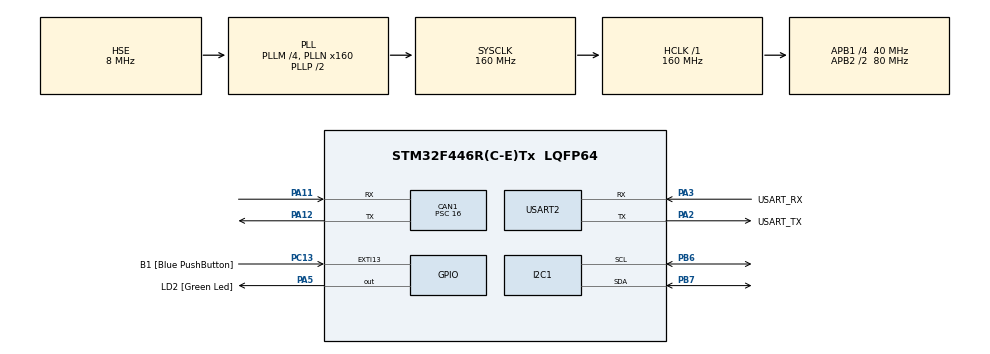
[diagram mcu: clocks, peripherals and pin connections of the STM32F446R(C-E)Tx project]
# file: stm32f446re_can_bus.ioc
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CAN1.BS1=CAN_BS1_3TQ
CAN1.BS2=CAN_BS2_1TQ
CAN1.CalculateBaudRate=500000
CAN1.CalculateTimeBit=2000
CAN1.CalculateTimeQuantum=400.0
CAN1.Mode=CAN_MODE_LOOPBACK
CAN1.Prescaler=16
Mcu.Family=STM32F4
Mcu.Name=STM32F446R(C-E)Tx
Mcu.Package=LQFP64
NVIC.CAN1_RX0_IRQn=true\:0\:0\:false\:false\:true\:true\:true\:true
NVIC.CAN1_RX1_IRQn=true\:0\:0\:false\:false\:true\:true\:true\:true
NVIC.PriorityGroup=NVIC_PRIORITYGROUP_0
PA11.Mode=CAN_Activate
PA11.Signal=CAN1_RX
PA12.Mode=CAN_Activate
PA12.Signal=CAN1_TX
PA13.GPIO_Label=TMS
PA13.Mode=Serial_Wire
PA13.Signal=SYS_JTMS-SWDIO
PA14.GPIO_Label=TCK
PA14.Mode=Serial_Wire
PA14.Signal=SYS_JTCK-SWCLK
PA2.GPIO_Label=USART_TX
PA2.Mode=Asynchronous
PA2.Signal=USART2_TX
PA3.GPIO_Label=USART_RX
PA3.Mode=Asynchronous
PA3.Signal=USART2_RX
PA5.GPIO_Label=LD2 [Green Led]
PA5.Signal=GPIO_Output
PB3.GPIO_Label=SWO
PB3.Signal=SYS_JTDO-SWO
PB6.Mode=I2C
PB6.Signal=I2C1_SCL
PB7.Mode=I2C
PB7.Signal=I2C1_SDA
PC13.GPIO_Label=B1 [Blue PushButton]
PC13.GPIO_ModeDefaultEXTI=GPIO_MODE_IT_FALLING
PC13.Signal=GPXTI13
PC14-OSC32_IN.Mode=LSE-External-Oscillator
PC14-OSC32_IN.Signal=RCC_OSC32_IN
PC15-OSC32_OUT.Mode=LSE-External-Oscillator
PC15-OSC32_OUT.Signal=RCC_OSC32_OUT
PH0-OSC_IN.Mode=HSE-External-Oscillator
PH0-OSC_IN.Signal=RCC_OSC_IN
PH1-OSC_OUT.Mode=HSE-External-Oscillator
PH1-OSC_OUT.Signal=RCC_OSC_OUT
ProjectManager.HeapSize=0x200
ProjectManager.StackSize=0x400
ProjectManager.TargetToolchain=STM32CubeIDE
RCC.48MHZClocksFreq_Value=84000000
RCC.AHBFreq_Value=160000000
RCC.APB1CLKDivider=RCC_HCLK_DIV4
RCC.APB1Freq_Value=40000000
RCC.APB1TimFreq_Value=80000000
RCC.APB2CLKDivider=RCC_HCLK_DIV2
RCC.APB2Freq_Value=80000000
RCC.APB2TimFreq_Value=160000000
RCC.CortexFreq_Value=160000000
RCC.FLatency-AdvancedSettings=FLASH_LATENCY_5
RCC.HCLKFreq_Value=160000000
RCC.HSE_VALUE=8000000
RCC.HSI_VALUE=16000000
RCC.PLLM=4
RCC.PLLN=160
RCC.PLLSourceVirtual=RCC_PLLSOURCE_HSE
RCC.SYSCLKFreq_VALUE=160000000
RCC.SYSCLKSource=RCC_SYSCLKSOURCE_PLLCLK
RCC.USBFreq_Value=160000000
RCC.VCOOutputFreq_Value=320000000
USART2.VirtualMode=VM_ASYNC
board=NUCLEO-F446RE

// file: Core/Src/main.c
/* USER CODE BEGIN Header */
/**
  ******************************************************************************
  * @file           : main.c
  * @brief          : Main program body
  ******************************************************************************
  * @attention
  *
  * Copyright (c) 2022 STMicroelectronics.
  * All rights reserved.
  *
  * This software is licensed under terms that can be found in the LICENSE file
  * in the root directory of this software component.
  * If no LICENSE file comes with this software, it is provided AS-IS.
  *
  ******************************************************************************
  */
/* USER CODE END Header */
#include "main.h"

/* USER CODE BEGIN Includes */
#include "FEB_CAN.h"

/* USER CODE END Includes */

CAN_HandleTypeDef hcan1;

I2C_HandleTypeDef hi2c1;

UART_HandleTypeDef huart2;

/* USER CODE BEGIN PV */
int flag = 0;

/* USER CODE END PV */

void SystemClock_Config(void);
static void MX_GPIO_Init(void);
static void MX_USART2_UART_Init(void);
static void MX_CAN1_Init(void);
static void MX_I2C1_Init(void);

/* USER CODE BEGIN 0 */
void HAL_CAN_RxFifo0MsgPendingCallback(CAN_HandleTypeDef *hcan) {
	FEB_CAN_Receive(hcan);
	flag = 1;
}

/* USER CODE END 0 */

int main(void)
{

  /* MCU Configuration--------------------------------------------------------*/

  /* Reset of all peripherals, Initializes the Flash interface and the Systick. */
  HAL_Init();

  /* Configure the system clock */
  SystemClock_Config();

  /* Initialize all configured peripherals */
  MX_GPIO_Init();
  MX_USART2_UART_Init();
  MX_CAN1_Init();
  MX_I2C1_Init();
  /* USER CODE BEGIN 2 */

  FEB_CAN_Init(&hcan1, SM_ID);
  int state = 0;
  BMS_TEMPERATURE_TYPE temp = 20.5;
  float volt = 12.0;
  uint16_t brake = 120;
  uint16_t pedal_1 = 105;

  //char str[128];
  /* USER CODE END 2 */

  /* Infinite loop */
  while (1)
  {

    /* USER CODE BEGIN 3 */
	if(state == 0) {
		temp += 0.5;
		FEB_CAN_Transmit(&hcan1, BMS_TEMPERATURE, &temp, sizeof(temp));
		state = 1;
	} else if (state == 1) {
		volt += 0.5;
		FEB_CAN_Transmit(&hcan1, BMS_VOLTAGE, &volt, sizeof(volt));
		state = 2;
	} else if (state == 2) {
		brake++;
		FEB_CAN_Transmit(&hcan1, APPS_BRAKE_PEDAL, &brake, sizeof(brake));
		state = 3;
	} else if (state == 3) {
		pedal_1++;
		FEB_CAN_Transmit(&hcan1, APPS_ACCELERATOR1_PEDAL, &pedal_1, sizeof(pedal_1));
		state = 0;
	}
	HAL_Delay(1000);
	flag = 0;

  }
  /* USER CODE END 3 */
}

void SystemClock_Config(void)
{
  RCC_OscInitTypeDef RCC_OscInitStruct = {0};
  RCC_ClkInitTypeDef RCC_ClkInitStruct = {0};

  /** Configure the main internal regulator output voltage
  */
  __HAL_RCC_PWR_CLK_ENABLE();
  __HAL_PWR_VOLTAGESCALING_CONFIG(PWR_REGULATOR_VOLTAGE_SCALE1);

  /** Initializes the RCC Oscillators according to the specified parameters
  * in the RCC_OscInitTypeDef structure.
  */
  RCC_OscInitStruct.OscillatorType = RCC_OSCILLATORTYPE_HSE;
  RCC_OscInitStruct.HSEState = RCC_HSE_ON;
  RCC_OscInitStruct.PLL.PLLState = RCC_PLL_ON;
  RCC_OscInitStruct.PLL.PLLSource = RCC_PLLSOURCE_HSE;
  RCC_OscInitStruct.PLL.PLLM = 4;
  RCC_OscInitStruct.PLL.PLLN = 160;
  RCC_OscInitStruct.PLL.PLLP = RCC_PLLP_DIV2;
  RCC_OscInitStruct.PLL.PLLQ = 2;
  RCC_OscInitStruct.PLL.PLLR = 2;
  if (HAL_RCC_OscConfig(&RCC_OscInitStruct) != HAL_OK)
  {
    Error_Handler();
  }

  /** Initializes the CPU, AHB and APB buses clocks
  */
  RCC_ClkInitStruct.ClockType = RCC_CLOCKTYPE_HCLK|RCC_CLOCKTYPE_SYSCLK
                              |RCC_CLOCKTYPE_PCLK1|RCC_CLOCKTYPE_PCLK2;
  RCC_ClkInitStruct.SYSCLKSource = RCC_SYSCLKSOURCE_PLLCLK;
  RCC_ClkInitStruct.AHBCLKDivider = RCC_SYSCLK_DIV1;
  RCC_ClkInitStruct.APB1CLKDivider = RCC_HCLK_DIV4;
  RCC_ClkInitStruct.APB2CLKDivider = RCC_HCLK_DIV2;

  if (HAL_RCC_ClockConfig(&RCC_ClkInitStruct, FLASH_LATENCY_5) != HAL_OK)
  {
    Error_Handler();
  }
}

static void MX_CAN1_Init(void)
{

  hcan1.Instance = CAN1;
  hcan1.Init.Prescaler = 16;
  hcan1.Init.Mode = CAN_MODE_LOOPBACK;
  hcan1.Init.SyncJumpWidth = CAN_SJW_1TQ;
  hcan1.Init.TimeSeg1 = CAN_BS1_3TQ;
  hcan1.Init.TimeSeg2 = CAN_BS2_1TQ;
  hcan1.Init.TimeTriggeredMode = DISABLE;
  hcan1.Init.AutoBusOff = DISABLE;
  hcan1.Init.AutoWakeUp = DISABLE;
  hcan1.Init.AutoRetransmission = DISABLE;
  hcan1.Init.ReceiveFifoLocked = DISABLE;
  hcan1.Init.TransmitFifoPriority = DISABLE;
  if (HAL_CAN_Init(&hcan1) != HAL_OK)
  {
    Error_Handler();
  }

}

static void MX_I2C1_Init(void)
{

  hi2c1.Instance = I2C1;
  hi2c1.Init.ClockSpeed = 100000;
  hi2c1.Init.DutyCycle = I2C_DUTYCYCLE_2;
  hi2c1.Init.OwnAddress1 = 0;
  hi2c1.Init.AddressingMode = I2C_ADDRESSINGMODE_7BIT;
  hi2c1.Init.DualAddressMode = I2C_DUALADDRESS_DISABLE;
  hi2c1.Init.OwnAddress2 = 0;
  hi2c1.Init.GeneralCallMode = I2C_GENERALCALL_DISABLE;
  hi2c1.Init.NoStretchMode = I2C_NOSTRETCH_DISABLE;
  if (HAL_I2C_Init(&hi2c1) != HAL_OK)
  {
    Error_Handler();
  }

}

static void MX_USART2_UART_Init(void)
{

  huart2.Instance = USART2;
  huart2.Init.BaudRate = 115200;
  huart2.Init.WordLength = UART_WORDLENGTH_8B;
  huart2.Init.StopBits = UART_STOPBITS_1;
  huart2.Init.Parity = UART_PARITY_NONE;
  huart2.Init.Mode = UART_MODE_TX_RX;
  huart2.Init.HwFlowCtl = UART_HWCONTROL_NONE;
  huart2.Init.OverSampling = UART_OVERSAMPLING_16;
  if (HAL_UART_Init(&huart2) != HAL_OK)
  {
    Error_Handler();
  }

}

static void MX_GPIO_Init(void)
{
  GPIO_InitTypeDef GPIO_InitStruct = {0};

  /* GPIO Ports Clock Enable */
  __HAL_RCC_GPIOC_CLK_ENABLE();
  __HAL_RCC_GPIOH_CLK_ENABLE();
  __HAL_RCC_GPIOA_CLK_ENABLE();
  __HAL_RCC_GPIOB_CLK_ENABLE();

  /*Configure GPIO pin Output Level */
  HAL_GPIO_WritePin(LD2_GPIO_Port, LD2_Pin, GPIO_PIN_RESET);

  /*Configure GPIO pin : B1_Pin */
  GPIO_InitStruct.Pin = B1_Pin;
  GPIO_InitStruct.Mode = GPIO_MODE_IT_FALLING;
  GPIO_InitStruct.Pull = GPIO_NOPULL;
  HAL_GPIO_Init(B1_GPIO_Port, &GPIO_InitStruct);

  /*Configure GPIO pin : LD2_Pin */
  GPIO_InitStruct.Pin = LD2_Pin;
  GPIO_InitStruct.Mode = GPIO_MODE_OUTPUT_PP;
  GPIO_InitStruct.Pull = GPIO_NOPULL;
  GPIO_InitStruct.Speed = GPIO_SPEED_FREQ_LOW;
  HAL_GPIO_Init(LD2_GPIO_Port, &GPIO_InitStruct);

}

void Error_Handler(void)
{
  __disable_irq();
  while (1)
  {
  }
}
